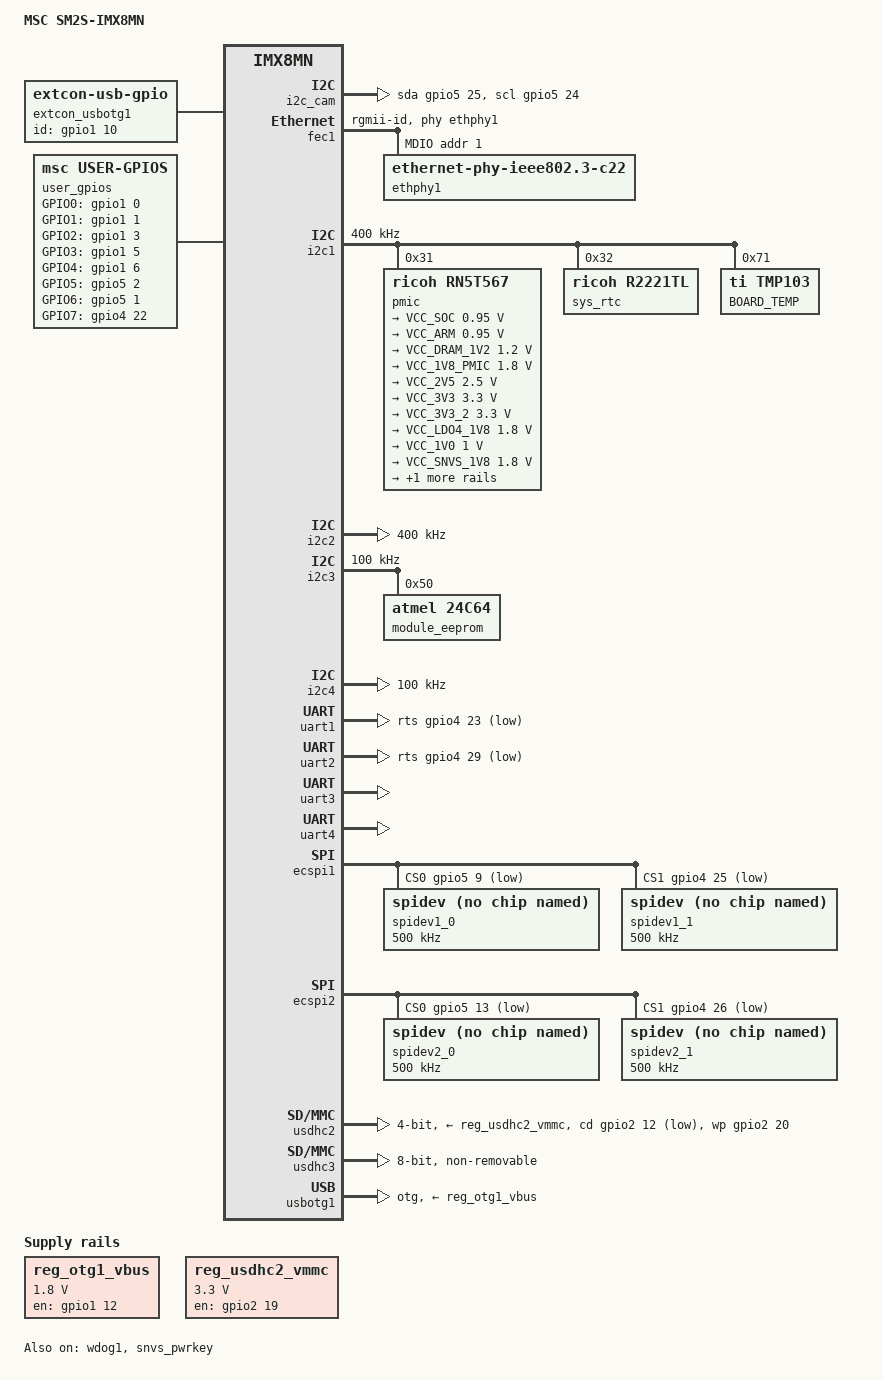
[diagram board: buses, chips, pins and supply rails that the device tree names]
/*
 * Copyright (C) 2022 Avnet Embedded GmbH
 *
 * This program is free software; you can redistribute it and/or
 * modify it under the terms of the GNU General Public License as
 * published by the Free Software Foundation version 2.
 *
 * This program is distributed "as is" WITHOUT ANY WARRANTY of any
 * kind, whether express or implied; without even the implied warranty
 * of MERCHANTABILITY or FITNESS FOR A PARTICULAR PURPOSE.  See the
 * GNU General Public License for more details.
 */

#include <dt-bindings/usb/pd.h>
#include "../../freescale/imx8mn.dtsi"
#include <dt-bindings/net/ti-dp83867.h>
#include <dt-bindings/mfd/ricoh-rn5t618.h>
#include <dt-bindings/input/snvs_pwrkey.h>
#include <dt-bindings/thermal/thermal.h>

/ {
	model = "MSC SM2S-IMX8MN";
	compatible = "msc,sm2s-imx8mn", "fsl,imx8mn";

	chosen {
		stdout-path = &uart1;
	};

	aliases {
		rtc0 = &sys_rtc;
		rtc1 = &snvs_rtc;
		ser0 = &uart1;
		ser1 = &uart3;
		ser2 = &uart2;
		ser3 = &uart4;
		i2c-dev = &i2c1;
		i2c-pm = &i2c2;
		i2c-gp = &i2c3;
		i2c-lcd = &i2c4;
		i2c-cam = &i2c_cam;
		// i2c5 = &i2c_cam;
	};

	busfreq {
		status = "disabled";
	};

	/* clkout1 monitor output */
	clkout1: clkout1 {
		compatible = "fixed-clock";
		#clock-cells = <0>;
		clock-frequency = <24000000>;
		clock-output-names = "clkout1";
	};

	/* clkout2 monitor output */
	clkout2: clkout2 {
		compatible = "fixed-clock";
		#clock-cells = <0>;
		clock-frequency = <24000000>;
		clock-output-names = "clkout2";
	};

	reg_otg1_vbus: otg1-vbus-regulator {
		compatible = "regulator-fixed";
		regulator-name = "OTG1_VBUS";
		regulator-min-microvolt = <1800000>;
		regulator-max-microvolt = <1800000>;
		gpio = <&gpio1 12 GPIO_ACTIVE_HIGH>;
		enable-active-high;
	};

	reg_usdhc2_vmmc: regulator-usdhc2 {
		compatible = "regulator-fixed";
		regulator-name = "VSD_3V3";
		regulator-min-microvolt = <3300000>;
		regulator-max-microvolt = <3300000>;
		gpio = <&gpio2 19 GPIO_ACTIVE_HIGH>;
		enable-active-high;
		startup-delay-us = <100>;
		u-boot,off-on-delay-us = <12000>;
	};

	i2c_cam: i2c_cam {
		pinctrl-names = "default";
		pinctrl-0 = <&pinctrl_i2c_cam>;
		compatible = "i2c-gpio";
		#address-cells = <1>;
		#size-cells = <0>;
		sda-gpios = <&gpio5 25 (GPIO_ACTIVE_HIGH | GPIO_OPEN_DRAIN)>;
		scl-gpios = <&gpio5 24 (GPIO_ACTIVE_HIGH | GPIO_OPEN_DRAIN)>;
		i2c-gpio,delay-us = <2>;	/* ~100 kHz */
		status = "okay";
	};

	lcd0_backlight: lcd0_backlight {
		pinctrl-names = "default";
		pinctrl-0 = <&pinctrl_lcd0_backlight>;
		compatible = "pwm-backlight";
		pwms = <&pwm1 0 1000000>;
		brightness-levels = <
			  0   1   2   3   4   5   6   7   8   9
			 10  11  12  13  14  15  16  17  18  19
			 20  21  22  23  24  25  26  27  28  29
			 30  31  32  33  34  35  36  37  38  39
			 40  41  42  43  44  45  46  47  48  49
			 50  51  52  53  54  55  56  57  58  59
			 60  61  62  63  64  65  66  67  68  69
			 70  71  72  73  74  75  76  77  78  79
			 80  81  82  83  84  85  86  87  88  89
			 90  91  92  93  94  95  96  97  98  99
			100 101 102 103 104 105 106 107 108 109
			110 111 112 113 114 115 116 117 118 119
			120 121 122 123 124 125 126 127 128 129
			130 131 132 133 134 135 136 137 138 139
			140 141 142 143 144 145 146 147 148 149
			150 151 152 153 154 155 156 157 158 159
			160 161 162 163 164 165 166 167 168 169
			170 171 172 173 174 175 176 177 178 179
			180 181 182 183 184 185 186 187 188 189
			190 191 192 193 194 195 196 197 198 199
			200 201 202 203 204 205 206 207 208 209
			210 211 212 213 214 215 216 217 218 219
			220 221 222 223 224 225 226 227 228 229
			230 231 232 233 234 235 236 237 238 239
			240 241 242 243 244 245 246 247 248 249
			250 251 252 253 254 255
		>;
		default-brightness-level = <255>;
		enable-gpios = <&gpio5 4 GPIO_ACTIVE_HIGH>;
		status = "disabled";
	};

	extcon_usbotg1: extcon_usbotg1 {
		pinctrl-names = "default";
		pinctrl-0 = <&pinctrl_usbotg1_extcon>;
		compatible = "linux,extcon-usb-gpio";
		id-gpio = <&gpio1 10 GPIO_ACTIVE_HIGH>;
	};

	user_gpios {
		compatible = "msc,user-gpios";
		GPIO0-gpios = <&gpio1 0 GPIO_ACTIVE_HIGH>;
		GPIO1-gpios = <&gpio1 1 GPIO_ACTIVE_HIGH>;
		GPIO2-gpios = <&gpio1 3 GPIO_ACTIVE_HIGH>;
		GPIO3-gpios = <&gpio1 5 GPIO_ACTIVE_HIGH>;
		GPIO4-gpios = <&gpio1 6 GPIO_ACTIVE_HIGH>;
		GPIO5-gpios = <&gpio5 2 GPIO_ACTIVE_HIGH>;
		GPIO6-gpios = <&gpio5 1 GPIO_ACTIVE_HIGH>;
		GPIO7-gpios = <&gpio4 22 GPIO_ACTIVE_HIGH>;
		GPIO8-gpios = <&gpio3 25 GPIO_ACTIVE_HIGH>;
		GPIO9-gpios = <&gpio4 28 GPIO_ACTIVE_HIGH>;
		GPIO10-gpios = <&gpio1 9 GPIO_ACTIVE_HIGH>;
		GPIO11-gpios = <&gpio1 7 GPIO_ACTIVE_HIGH>;
		GPIO12-gpios = <&gpio2 9 GPIO_ACTIVE_HIGH>;
		GPIO13-gpios = <&gpio2 8 GPIO_ACTIVE_HIGH>;
	};
};

&fec1 {
	pinctrl-names = "default";
	pinctrl-0 = <&pinctrl_fec1>;
	phy-mode = "rgmii-id";
	phy-handle = <&ethphy1>;
	fsl,magic-packet;
	status = "okay";

	mdio {
		#address-cells = <1>;
		#size-cells = <0>;

		ethphy1: ethernet-phy@1 {
			compatible = "ethernet-phy-ieee802.3-c22";
			reg = <1>;
			eee-broken-1000t;

			ti,rx-internal-delay = <DP83867_RGMIIDCTL_2_25_NS>;
			ti,tx-internal-delay = <DP83867_RGMIIDCTL_2_75_NS>;
			ti,fifo-depth = <DP83867_PHYCR_FIFO_DEPTH_4_B_NIB>;
			ti,led-2-sel = <MII_DP83867_LEDCR1_LED_SEL_LE_RX_TX_ACT>;
			ti,led-1-sel = <MII_DP83867_LEDCR1_LED_SEL_1000BT_LE>;
			ti,led-0-sel = <MII_DP83867_LEDCR1_LED_SEL_100BTX_LE>;
			ti,led-gpio-polarity-active-high;
			ti,led-2-polarity-active-high;
			ti,led-1-polarity-active-high;
			ti,led-0-polarity-active-high;
			ti,clk-output-sel = <DP83867_CLK_O_SEL_OFF>;
		};
	};
};

/* I2C_DEV */
&i2c1 {
	pinctrl-names = "default";
	pinctrl-0 = <&pinctrl_i2c1>;
	clock-frequency = <400000>;
	status = "okay";

	pmic: pmic@31 {
		compatible = "ricoh,rn5t567";
		reg = <0x31>;
		pmic-id = <0>;
		system-power-controller;
		system-restart-controller;
		sleep-sequence = /bits/ 8 <
				0x16	0x2b
				0x17	0x49
				0x1b	0x2b
				0x1c	0x67
				0x1f	0x0b
				0x32	0x03
				0x30	0x03
			>;
		repower-time = <REPWRTIME_1000MS>;

		regulators {
			DCDC1 {
				regulator-name = "VCC_SOC";
				regulator-always-on;
				regulator-min-microvolt = <950000>;
				regulator-max-microvolt = <950000>;
			};
			DCDC2 {
				regulator-name = "VCC_ARM";
				regulator-always-on;
				regulator-min-microvolt = <950000>;
				regulator-max-microvolt = <950000>;
			};
			DCDC3 {
				regulator-name = "VCC_DRAM_1V2";
				regulator-always-on;
				regulator-min-microvolt = <1200000>;
				regulator-max-microvolt = <1200000>;
			};
			DCDC4 {
				regulator-name = "VCC_1V8_PMIC";
				regulator-always-on;
				regulator-min-microvolt = <1800000>;
				regulator-max-microvolt = <1800000>;
			};
			LDO1 {
				regulator-name = "VCC_2V5";
				regulator-always-on;
				regulator-min-microvolt = <2500000>;
				regulator-max-microvolt = <2500000>;
			};
			LDO2 {
				regulator-name = "VCC_3V3";
				regulator-always-on;
				regulator-min-microvolt = <3300000>;
				regulator-max-microvolt = <3300000>;
			};
			LDO3 {
				regulator-name = "VCC_3V3_2";
				regulator-always-on;
				regulator-min-microvolt = <3300000>;
				regulator-max-microvolt = <3300000>;
			};
			LDO4 {
				regulator-name = "VCC_LDO4_1V8";
				regulator-always-on;
				regulator-min-microvolt = <1800000>;
				regulator-max-microvolt = <1800000>;
			};
			LDO5 {
				regulator-name = "VCC_1V0";
				regulator-always-on;
				regulator-min-microvolt = <1000000>;
				regulator-max-microvolt = <1000000>;
			};
			LDORTC1 {
				regulator-name = "VCC_SNVS_1V8";
				regulator-always-on;
				regulator-min-microvolt = <1800000>;
				regulator-max-microvolt = <1800000>;
			};
			LDORTC2 {
				regulator-name = "VCC_PM1_SNVS_3V3";
				regulator-always-on;
				regulator-min-microvolt = <3300000>;
				regulator-max-microvolt = <3300000>;
			};
		};
	};

	sys_rtc: rtc@32 {
		compatible = "ricoh,r2221tl";
		pinctrl-names = "default";
		pinctrl-0 = <&pinctrl_rtc1>;
		reg = <0x32>;
	};

	tmp103: tmp103@71 {
		compatible = "ti,tmp103";
		reg = <0x71>;
		label = "BOARD_TEMP";
	};

	dsi_lvds_bridge: sn65dsi84@2d {
		compatible = "ti,sn65dsi83";
		reg = <0x2d>;
		pinctrl-names = "default";
		pinctrl-0 = <&pinctrl_lcd0_panel>;
		enable-panel-gpios = <&gpio5 3 GPIO_ACTIVE_HIGH>;
		backlight = <&lcd0_backlight>;
		status = "disabled";
	};
};

/* I2C_PM */
&i2c2 {
	clock-frequency = <400000>;
	pinctrl-names = "default";
	pinctrl-0 = <&pinctrl_i2c2>;
	status = "okay";
};

/* I2C_GP */
&i2c3 {
	clock-frequency = <100000>;
	pinctrl-names = "default";
	pinctrl-0 = <&pinctrl_i2c3>;
	status = "okay";

	module_eeprom@50 {
		compatible = "atmel,24c64";
		reg = <0x50>;
	};
};

/* I2C_LCD */
&i2c4 {
	clock-frequency = <100000>;
	pinctrl-names = "default";
	pinctrl-0 = <&pinctrl_i2c4>;
	status = "okay";
};

&sdma1 {
	status = "okay";
};

&sdma2 {
	status = "okay";
};

/* ser 0 */
&uart1 {
	pinctrl-names = "default";
	pinctrl-0 = <&pinctrl_uart1>;
	fsl,uart-has-rtscts;
	rts-gpios = <&gpio4 23 GPIO_ACTIVE_LOW>;
	cts-gpios = <&gpio4 24 GPIO_ACTIVE_LOW>;
	status = "okay";
};

/* ser 2 */
&uart2 {
	pinctrl-names = "default";
	pinctrl-0 = <&pinctrl_uart2>;
	fsl,uart-has-rtscts;
	rts-gpios = <&gpio4 29 GPIO_ACTIVE_LOW>;
	cts-gpios = <&gpio4 30 GPIO_ACTIVE_LOW>;
	status = "okay";
};

/* ser 1 */
&uart3 {
	pinctrl-names = "default";
	pinctrl-0 = <&pinctrl_uart3>;
	assigned-clocks = <&clk IMX8MN_CLK_UART3>;
	assigned-clock-parents = <&clk IMX8MN_SYS_PLL1_80M>;
	status = "okay";
};

/* ser 3 */
&uart4 {
	pinctrl-names = "default";
	pinctrl-0 = <&pinctrl_uart4>;
	status = "okay";
};

&ecspi1 {
	#address-cells = <1>;
	#size-cells = <0>;
	pinctrl-names = "default";
	pinctrl-0 = <&pinctrl_ecspi1>, <&pinctrl_ecspi1_cs>;
	fsl,spi-num-chipselects = <2>;
	cs-gpios = <&gpio5 9 GPIO_ACTIVE_LOW>,
			   <&gpio4 25 GPIO_ACTIVE_LOW>;
	status = "okay";

	spidev1_0: spi@0 {
		compatible = "rohm,dh2228fv";
		reg = <0>;
		spi-max-frequency = <500000>;
	};

	spidev1_1: spi@1 {
		compatible = "rohm,dh2228fv";
		reg = <1>;
		spi-max-frequency = <500000>;
	};
};

&ecspi2 {
	#address-cells = <1>;
	#size-cells = <0>;
	pinctrl-names = "default";
	pinctrl-0 = <&pinctrl_ecspi2 &pinctrl_ecspi2_cs>;
	fsl,spi-num-chipselects = <2>;
	cs-gpios = <&gpio5 13 GPIO_ACTIVE_LOW>,
			   <&gpio4 26 GPIO_ACTIVE_LOW>;
	status = "okay";

	spidev2_0: spi@0 {
		compatible = "rohm,dh2228fv";
		reg = <0>;
		spi-max-frequency = <500000>;
	};

	spidev2_1: spi@1 {
		compatible = "rohm,dh2228fv";
		reg = <1>;
		spi-max-frequency = <500000>;
	};
};

/* SD Card */
&usdhc2 {
	assigned-clocks = <&clk IMX8MN_CLK_USDHC2>;
	assigned-clock-rates = <200000000>;
	pinctrl-names = "default", "state_100mhz", "state_200mhz";
	pinctrl-0 = <&pinctrl_usdhc2>, <&pinctrl_usdhc2_gpio>;
	pinctrl-1 = <&pinctrl_usdhc2_100mhz>, <&pinctrl_usdhc2_gpio>;
	pinctrl-2 = <&pinctrl_usdhc2_200mhz>, <&pinctrl_usdhc2_gpio>;
	cd-gpios = <&gpio2 12 GPIO_ACTIVE_LOW>;
	wp-gpios = <&gpio2 20 GPIO_ACTIVE_HIGH>;
	vmmc-supply = <&reg_usdhc2_vmmc>;
	bus-width = <4>;
	status = "okay";
};

/* eMMC */
&usdhc3 {
	assigned-clocks = <&clk IMX8MN_CLK_USDHC3_ROOT>;
	assigned-clock-rates = <400000000>;
	pinctrl-names = "default", "state_100mhz", "state_200mhz";
	pinctrl-0 = <&pinctrl_usdhc3>, <&pinctrl_usdhc3_reset>;
	pinctrl-1 = <&pinctrl_usdhc3_100mhz>, <&pinctrl_usdhc3_reset>;
	pinctrl-2 = <&pinctrl_usdhc3_200mhz>, <&pinctrl_usdhc3_reset>;
	bus-width = <8>;
	non-removable;
	status = "okay";
};

&usbotg1 {
	pinctrl-names = "default";
	pinctrl-0 = <&pinctrl_usbotg1>;
	vbus-supply = <&reg_otg1_vbus>;
	dr_mode = "otg";
	extcon = <0>, <&extcon_usbotg1>;
	hnp-disable;
	srp-disable;
	adp-disable;
	disable-over-current;
	status = "okay";
};

&wdog1 {
	pinctrl-names = "default";
	pinctrl-0 = <&pinctrl_wdog1>;
	fsl,ext-reset-output;
	status = "okay";
};

///* qspi */
//&flexspi {
//	pinctrl-names = "default";
//	pinctrl-0 = <&pinctrl_flexspi>;
//	status = "okay";
//
//	qspi_flash: qspi_flash@0 {
//		reg = <0>;
//		#address-cells = <1>;
//		#size-cells = <1>;
//		compatible = "jedec,spi-nor";
//		spi-max-frequency = <80000000>;
//		spi-tx-bus-width = <4>;
//		spi-rx-bus-width = <4>;
//	};
//};

&pwm1 {
	pinctrl-names = "default";
	pinctrl-0 = <&pinctrl_pwm1>;
	status = "disabled";
};

&mipi_dsi {
	status = "disabled";
};

&sai5 {
	pinctrl-names = "default";
	pinctrl-0 = <&pinctrl_sai5>;
	assigned-clocks = <&clk IMX8MN_CLK_SAI5>;
	assigned-clock-parents = <&clk IMX8MN_AUDIO_PLL1_OUT>;
	assigned-clock-rates = <49152000>;
	clocks = <&clk IMX8MN_CLK_SAI5_IPG>, <&clk IMX8MN_CLK_DUMMY>,
		<&clk IMX8MN_CLK_SAI5_ROOT>, <&clk IMX8MN_CLK_DUMMY>,
		<&clk IMX8MN_CLK_DUMMY>, <&clk IMX8MN_AUDIO_PLL1_OUT>,
		<&clk IMX8MN_AUDIO_PLL2_OUT>;
	clock-names = "bus", "mclk0", "mclk1", "mclk2", "mclk3", "pll8k", "pll11k";
	status = "disabled";
};

&snvs_pwrkey {
	on-time = <SNVS_LPCR_ON_TIME_0ms>;
	status = "okay";
};

&anatop {
	clkout1,source = <IMX8MN_CLK_CLKOUT_OUTPUT_SEL_SYSOSC_24M>;
	clkout1,enable;
	clkout2,source = <IMX8MN_CLK_CLKOUT_OUTPUT_SEL_SYSOSC_24M>;
	clkout2,enable;

	/* video-pll1-ss,enable; */
	video-pll1-ss,ffin_MHz = <24>;
	video-pll1-ss,mf_kHz = <30>;
	video-pll1-ss,mr = <VIDEO_PLL1_SPREAD_DEPTH_0_5_PERCENT>;
};

&easrc {
	fsl,asrc-rate  = <48000>;
	status = "disabled";
};

&mipi_csi_1 {
	status = "disabled";
};

&isi_0 {
	status = "disabled";

	cap_device {
		status = "disabled";
	};
};

&cameradev {
	status = "disabled";
};

&iomuxc {
	pinctrl-names = "default";
	pinctrl-0 = <&pinctrl_smarc_gpio>, <&pinctrl_hog>;

	sm2s-imx8mn {

		pinctrl_hog: hoggrp {
			fsl,pins = <
				/* BATLOW */
				MX8MN_IOMUXC_SD1_DATA5_GPIO2_IO7			0x19
				/* CHARGING */
				MX8MN_IOMUXC_SD1_DATA3_GPIO2_IO5			0x19
				/* CHARGER_PRSNT# */
				MX8MN_IOMUXC_SD1_DATA4_GPIO2_IO6			0x19
				/* PERI_RST# */
				MX8MN_IOMUXC_SAI2_MCLK_GPIO4_IO27			0x19
				/* SLEEP */
				MX8MN_IOMUXC_SAI2_RXFS_GPIO4_IO21			0x40000019
				/* BOOT_SEL0# */
				MX8MN_IOMUXC_SD1_DATA0_GPIO2_IO2			0x40000019
				/* BOOT_SEL1# */
				MX8MN_IOMUXC_SD1_DATA1_GPIO2_IO3			0x40000019
				/*BOOT_SEL2# */
				MX8MN_IOMUXC_SD1_DATA2_GPIO2_IO4			0x40000019
			>;
		};

		pinctrl_smarc_gpio: smarcgrp-gpio {
			fsl,pins = <
				/* GPIO 0 */
				MX8MN_IOMUXC_GPIO1_IO00_GPIO1_IO0			0x40000019
				/* GPIO 1 */
				MX8MN_IOMUXC_GPIO1_IO01_GPIO1_IO1			0x40000019
				/* GPIO 2 */
				MX8MN_IOMUXC_GPIO1_IO03_GPIO1_IO3			0x40000019
				/* GPIO 3 no SION because of M4_NMI */
				MX8MN_IOMUXC_GPIO1_IO05_GPIO1_IO5			0x19
				/* GPIO 4 */
				MX8MN_IOMUXC_GPIO1_IO06_GPIO1_IO6			0x40000019
				/* GPIO 5 */
				MX8MN_IOMUXC_SAI3_MCLK_GPIO5_IO2			0x40000019
				/* GPIO 6 */
				MX8MN_IOMUXC_SAI3_TXD_GPIO5_IO1			0x40000019
				/* GPIO 7 */
				MX8MN_IOMUXC_SAI2_RXC_GPIO4_IO22			0x40000019
				/* GPIO 8 */
				MX8MN_IOMUXC_SAI5_MCLK_GPIO3_IO25			0x40000019
				/* GPIO 9 */
				MX8MN_IOMUXC_SAI3_RXFS_GPIO4_IO28			0x40000019
				/* GPIO 10 */
				MX8MN_IOMUXC_GPIO1_IO09_GPIO1_IO9			0x40000019
				/* GPIO 11 */
				MX8MN_IOMUXC_GPIO1_IO07_GPIO1_IO7			0x40000019
				/* GPIO 12 */
				MX8MN_IOMUXC_SD1_DATA7_GPIO2_IO9			0x40000019
				/* GPIO 13 */
				MX8MN_IOMUXC_SD1_DATA6_GPIO2_IO8			0x40000019
			>;
		};

		pinctrl_fec1: fec1grp {
			fsl,pins = <
				/* GBE_MDIO_CLK */
				MX8MN_IOMUXC_ENET_MDC_ENET1_MDC			0x3
				/* GBE_MDIO_DATA */
				MX8MN_IOMUXC_ENET_MDIO_ENET1_MDIO			0x3
				/* RGMII_TXEN */
				MX8MN_IOMUXC_ENET_TX_CTL_ENET1_RGMII_TX_CTL		0x1f
				/* RGMII_TCLK */
				MX8MN_IOMUXC_ENET_TXC_ENET1_RGMII_TXC			0x1f
				/* RGMII_TXD0 */
				MX8MN_IOMUXC_ENET_TD0_ENET1_RGMII_TD0			0x1f
				/* RGMII_TXD1 */
				MX8MN_IOMUXC_ENET_TD1_ENET1_RGMII_TD1			0x1f
				/* RGMII_TXD2 */
				MX8MN_IOMUXC_ENET_TD2_ENET1_RGMII_TD2			0x1f
				/* RGMII_TXD3 */
				MX8MN_IOMUXC_ENET_TD3_ENET1_RGMII_TD3			0x1f
				/* RGMII_RCNT */
				MX8MN_IOMUXC_ENET_RX_CTL_ENET1_RGMII_RX_CTL		0x91
				/* RGMII_RCLK */
				MX8MN_IOMUXC_ENET_RXC_ENET1_RGMII_RXC			0x91
				/* RGMII_RXD0 */
				MX8MN_IOMUXC_ENET_RD0_ENET1_RGMII_RD0			0x91
				/* RGMII_RXD1 */
				MX8MN_IOMUXC_ENET_RD1_ENET1_RGMII_RD1			0x91
				/* RGMII_RXD2 */
				MX8MN_IOMUXC_ENET_RD2_ENET1_RGMII_RD2			0x91
				/* RGMII_RXD3 */
				MX8MN_IOMUXC_ENET_RD3_ENET1_RGMII_RD3			0x91
				/* GBE_INT */
				MX8MN_IOMUXC_SAI5_RXC_GPIO3_IO20			0x40000019
				/* GBE0_GPIO_0 */
				MX8MN_IOMUXC_GPIO1_IO08_ENET1_1588_EVENT0_IN		0x19
			>;
		};

		/* ser 0 */
		pinctrl_uart1: uart1grp {
			fsl,pins = <
				/* SER0_RX */
				MX8MN_IOMUXC_UART1_RXD_UART1_DCE_RX		0x49
				/* SER0_TX */
				MX8MN_IOMUXC_UART1_TXD_UART1_DCE_TX		0x49
				/* SER0_RTS */
				MX8MN_IOMUXC_SAI2_RXD0_GPIO4_IO23		0x19
				/* SER0_CTS */
				MX8MN_IOMUXC_SAI2_TXFS_GPIO4_IO24		0x19
			>;
		};

		/* ser 2 */
		pinctrl_uart2: uart2grp {
			fsl,pins = <
				/* SER2_RX */
				MX8MN_IOMUXC_SAI3_TXFS_UART2_DCE_RX		0x49
				/* SER2_TX */
				MX8MN_IOMUXC_SAI3_TXC_UART2_DCE_TX		0x49
				/* SER2_RTS */
				MX8MN_IOMUXC_SAI3_RXC_GPIO4_IO29		0x19
				/* SER2_CTS */
				MX8MN_IOMUXC_SAI3_RXD_GPIO4_IO30		0x19
			>;
		};

		/* ser 1 */
		pinctrl_uart3: uart3grp {
			fsl,pins = <
				/* SER1_RX */
				MX8MN_IOMUXC_UART3_RXD_UART3_DCE_RX		0x49
				/* SER1_TX */
				MX8MN_IOMUXC_UART3_TXD_UART3_DCE_TX		0x49
			>;
		};

		/* ser 3 */
		pinctrl_uart4: uart4grp {
			fsl,pins = <
				/* SER3_RX */
				MX8MN_IOMUXC_UART4_RXD_UART4_DCE_RX		0x49
				/* SER3_TX */
				MX8MN_IOMUXC_UART4_TXD_UART4_DCE_TX		0x49
			>;
		};

		/* I2C_DEV */
		pinctrl_i2c1: i2c1grp {
			fsl,pins = <
				/* I2C_DEV_SCL */
				MX8MN_IOMUXC_I2C1_SCL_I2C1_SCL			0x400001c3
				/* I2C_DEV_SDA */
				MX8MN_IOMUXC_I2C1_SDA_I2C1_SDA			0x400001c3
			>;
		};

		/* I2C_PM */
		pinctrl_i2c2: i2c2grp {
			fsl,pins = <
				/* I2C_PM_SCL */
				MX8MN_IOMUXC_I2C2_SCL_I2C2_SCL			0x400001c3
				/* I2C_PM_SDA */
				MX8MN_IOMUXC_I2C2_SDA_I2C2_SDA			0x400001c3
			>;
		};

		/* I2C_GP */
		pinctrl_i2c3: i2c3grp {
			fsl,pins = <
				/* I2C_GP_SCL */
				MX8MN_IOMUXC_I2C3_SCL_I2C3_SCL			0x400001c3
				/* I2C_GP_SDA */
				MX8MN_IOMUXC_I2C3_SDA_I2C3_SDA			0x400001c3
			>;
		};

		/* I2C_LCD */
		pinctrl_i2c4: i2c4grp {
			fsl,pins = <
				/* I2C_LCD_SCL */
				MX8MN_IOMUXC_I2C4_SCL_I2C4_SCL			0x400001c3
				/* I2C_LCD_SDA */
				MX8MN_IOMUXC_I2C4_SDA_I2C4_SDA			0x400001c3
			>;
		};

		/* I2C_CAM */
		pinctrl_i2c_cam: i2ccamgrp {
			fsl,pins = <
				/* I2C_CAM_SCL, linux-gpio-id=152 */
				MX8MN_IOMUXC_UART2_RXD_GPIO5_IO24		0x40000116
				/* I2C_CAM_SDA, linux-gpio-id=153 */
				MX8MN_IOMUXC_UART2_TXD_GPIO5_IO25		0x40000116
			>;
		};

		pinctrl_usdhc2_gpio: usdhc2grp-gpio {
			fsl,pins = <
				/* SD2_RESET_B */
				MX8MN_IOMUXC_SD2_RESET_B_GPIO2_IO19			0x36
				/* SD2_CD_B, SDIO_CD, linux-gpio-id=44 */
				MX8MN_IOMUXC_SD2_CD_B_GPIO2_IO12			0x41
				/* SD2_WP, SDIO_WP, linux-gpio-id=52 */
				MX8MN_IOMUXC_SD2_WP_GPIO2_IO20				0x41
				/* SDIO_PWR_EN, linux-gpio-id=78 */
				MX8MN_IOMUXC_NAND_DQS_GPIO3_IO14			0x41
				/* USDHC2_VSELECT */
				MX8MN_IOMUXC_GPIO1_IO04_USDHC2_VSELECT			0x1d0
			>;
		};

		pinctrl_usdhc2: usdhc2grp {
			fsl,pins = <
				/* SD2_CLK, SDIO_CK */
				MX8MN_IOMUXC_SD2_CLK_USDHC2_CLK			0x92
				/* SD2_CMD, SDIO_CMD */
				MX8MN_IOMUXC_SD2_CMD_USDHC2_CMD			0x92
				/* SD2_DATA0, SDIO_DATA0 */
				MX8MN_IOMUXC_SD2_DATA0_USDHC2_DATA0			0x92
				/* SD2_DATA1, SDIO_DATA1 */
				MX8MN_IOMUXC_SD2_DATA1_USDHC2_DATA1			0x92
				/* SD2_DATA2, SDIO_DATA2 */
				MX8MN_IOMUXC_SD2_DATA2_USDHC2_DATA2			0x92
				/* SD2_DATA3, SDIO_DATA3 */
				MX8MN_IOMUXC_SD2_DATA3_USDHC2_DATA3			0x92
			>;
		};

		pinctrl_usdhc2_100mhz: usdhc2grp-100mhz {
			fsl,pins = <
				/* SD2_CLK, SDIO_CK */
				MX8MN_IOMUXC_SD2_CLK_USDHC2_CLK			0x94
				/* SD2_CMD, SDIO_CMD */
				MX8MN_IOMUXC_SD2_CMD_USDHC2_CMD			0x94
				/* SD2_DATA0, SDIO_DATA0 */
				MX8MN_IOMUXC_SD2_DATA0_USDHC2_DATA0			0x94
				/* SD2_DATA1, SDIO_DATA1 */
				MX8MN_IOMUXC_SD2_DATA1_USDHC2_DATA1			0x94
				/* SD2_DATA2, SDIO_DATA2 */
				MX8MN_IOMUXC_SD2_DATA2_USDHC2_DATA2			0x94
				/* SD2_DATA3, SDIO_DATA3 */
				MX8MN_IOMUXC_SD2_DATA3_USDHC2_DATA3			0x94
			>;
		};

		pinctrl_usdhc2_200mhz: usdhc2grp-200mhz {
			fsl,pins = <
				/* SD2_CLK, SDIO_CK */
				MX8MN_IOMUXC_SD2_CLK_USDHC2_CLK			0x96
				/* SD2_CMD, SDIO_CMD */
				MX8MN_IOMUXC_SD2_CMD_USDHC2_CMD			0x96
				/* SD2_DATA0, SDIO_DATA0 */
				MX8MN_IOMUXC_SD2_DATA0_USDHC2_DATA0			0x96
				/* SD2_DATA1, SDIO_DATA1 */
				MX8MN_IOMUXC_SD2_DATA1_USDHC2_DATA1			0x96
				/* SD2_DATA2, SDIO_DATA2 */
				MX8MN_IOMUXC_SD2_DATA2_USDHC2_DATA2			0x96
				/* SD2_DATA3, SDIO_DATA3 */
				MX8MN_IOMUXC_SD2_DATA3_USDHC2_DATA3			0x96
			>;
		};

		pinctrl_usdhc3_reset: usdhc3grp-reset {
			fsl,pins = <
				/* SD3_RESET_B, EMMC_RST */
				MX8MN_IOMUXC_NAND_READY_B_USDHC3_RESET_B		0x116
			>;
		};

		/* emmc */
		pinctrl_usdhc3: usdhc3grp {
			fsl,pins = <
				/* SDHC3_CK */
				MX8MN_IOMUXC_NAND_WE_B_USDHC3_CLK			0x40000190
				/* SDHC3_CMD */
				MX8MN_IOMUXC_NAND_WP_B_USDHC3_CMD			0x1d0
				/* SDHC3_DATA0 */
				MX8MN_IOMUXC_NAND_DATA04_USDHC3_DATA0			0x1d0
				/* SDHC3_DATA1 */
				MX8MN_IOMUXC_NAND_DATA05_USDHC3_DATA1			0x1d0
				/* SDHC3_DATA2 */
				MX8MN_IOMUXC_NAND_DATA06_USDHC3_DATA2			0x1d0
				/* SDHC3_DATA3 */
				MX8MN_IOMUXC_NAND_DATA07_USDHC3_DATA3			0x1d0
				/* SDHC3_DATA4 */
				MX8MN_IOMUXC_NAND_RE_B_USDHC3_DATA4			0x1d0
				/* SDHC3_DATA5 */
				MX8MN_IOMUXC_NAND_CE2_B_USDHC3_DATA5			0x1d0
				/* SDHC3_DATA6 */
				MX8MN_IOMUXC_NAND_CE3_B_USDHC3_DATA6			0x1d0
				/* SDHC3_DATA7 */
				MX8MN_IOMUXC_NAND_CLE_USDHC3_DATA7			0x1d0
				/* SDHC3_STRB */
				MX8MN_IOMUXC_NAND_CE1_B_USDHC3_STROBE			0x190

			>;
		};

		pinctrl_usdhc3_100mhz: usdhc3grp-100mhz {
			fsl,pins = <
				/* SDHC3_CK */
				MX8MN_IOMUXC_NAND_WE_B_USDHC3_CLK			0x40000194
				/* SDHC3_CMD */
				MX8MN_IOMUXC_NAND_WP_B_USDHC3_CMD			0x1d4
				/* SDHC3_DATA0 */
				MX8MN_IOMUXC_NAND_DATA04_USDHC3_DATA0			0x1d4
				/* SDHC3_DATA1 */
				MX8MN_IOMUXC_NAND_DATA05_USDHC3_DATA1			0x1d4
				/* SDHC3_DATA2 */
				MX8MN_IOMUXC_NAND_DATA06_USDHC3_DATA2			0x1d4
				/* SDHC3_DATA3 */
				MX8MN_IOMUXC_NAND_DATA07_USDHC3_DATA3			0x1d4
				/* SDHC3_DATA4 */
				MX8MN_IOMUXC_NAND_RE_B_USDHC3_DATA4			0x1d4
				/* SDHC3_DATA5 */
				MX8MN_IOMUXC_NAND_CE2_B_USDHC3_DATA5			0x1d4
				/* SDHC3_DATA6 */
				MX8MN_IOMUXC_NAND_CE3_B_USDHC3_DATA6			0x1d4
				/* SDHC3_DATA7 */
				MX8MN_IOMUXC_NAND_CLE_USDHC3_DATA7			0x1d4
				/* SDHC3_STRB */
				MX8MN_IOMUXC_NAND_CE1_B_USDHC3_STROBE			0x194

			>;
		};

		pinctrl_usdhc3_200mhz: usdhc3grp-200mhz {
			fsl,pins = <
				/* SDHC3_CK */
				MX8MN_IOMUXC_NAND_WE_B_USDHC3_CLK			0x40000196
				/* SDHC3_CMD */
				MX8MN_IOMUXC_NAND_WP_B_USDHC3_CMD			0x1d6
				/* SDHC3_DATA0 */
				MX8MN_IOMUXC_NAND_DATA04_USDHC3_DATA0			0x1d6
				/* SDHC3_DATA1 */
				MX8MN_IOMUXC_NAND_DATA05_USDHC3_DATA1			0x1d6
				/* SDHC3_DATA2 */
				MX8MN_IOMUXC_NAND_DATA06_USDHC3_DATA2			0x1d6
				/* SDHC3_DATA3 */
				MX8MN_IOMUXC_NAND_DATA07_USDHC3_DATA3			0x1d6
				/* SDHC3_DATA4 */
				MX8MN_IOMUXC_NAND_RE_B_USDHC3_DATA4			0x1d6
				/* SDHC3_DATA5 */
				MX8MN_IOMUXC_NAND_CE2_B_USDHC3_DATA5			0x1d6
				/* SDHC3_DATA6 */
				MX8MN_IOMUXC_NAND_CE3_B_USDHC3_DATA6			0x1d6
				/* SDHC3_DATA7 */
				MX8MN_IOMUXC_NAND_CLE_USDHC3_DATA7			0x1d6
				/* SDHC3_STRB */
				MX8MN_IOMUXC_NAND_CE1_B_USDHC3_STROBE			0x196

			>;
		};

		pinctrl_flexspi: flexspi0grp {
			fsl,pins = <
				/* QSPI_CK */
				MX8MN_IOMUXC_NAND_ALE_QSPI_A_SCLK			0x1c6
				/* QSPI_CS0# */
				MX8MN_IOMUXC_NAND_CE0_B_QSPI_A_SS0_B			0x86
				/* QSPI_DATA0 */
				MX8MN_IOMUXC_NAND_DATA00_QSPI_A_DATA0			0x86
				/* QSPI_DATA1 */
				MX8MN_IOMUXC_NAND_DATA01_QSPI_A_DATA1			0x86
				/* QSPI_DATA2 */
				MX8MN_IOMUXC_NAND_DATA02_QSPI_A_DATA2			0x86
				/* QSPI_DATA3 */
				MX8MN_IOMUXC_NAND_DATA03_QSPI_A_DATA3			0x86
			>;
		};

		pinctrl_ecspi1: ecspi1grp {
			fsl,pins = <
				/* SPI0_CK */
				MX8MN_IOMUXC_ECSPI1_SCLK_ECSPI1_SCLK			0x82
				/* SPI0_MOSI */
				MX8MN_IOMUXC_ECSPI1_MOSI_ECSPI1_MOSI			0x82
				/* SPI0_MISO */
				MX8MN_IOMUXC_ECSPI1_MISO_ECSPI1_MISO			0x82
			>;
		};

		pinctrl_ecspi1_cs: ecspi1grp-cs {
			fsl,pins = <
				/* SPI0_CS0, linux-gpio-id=137 */
				MX8MN_IOMUXC_ECSPI1_SS0_GPIO5_IO9			0x19
				/* SPI0_CS1, linux-gpio-id=121 */
				MX8MN_IOMUXC_SAI2_TXC_GPIO4_IO25			0x19
			>;
		};

		pinctrl_ecspi2: ecspi2grp {
			fsl,pins = <
				/* SPI1_CK */
				MX8MN_IOMUXC_ECSPI2_SCLK_ECSPI2_SCLK			0x82
				/* SPI1_MOSI */
				MX8MN_IOMUXC_ECSPI2_MOSI_ECSPI2_MOSI			0x82
				/* SPI1_MISO */
				MX8MN_IOMUXC_ECSPI2_MISO_ECSPI2_MISO			0x82
			>;
		};

		pinctrl_ecspi2_cs: ecspi2grp-cs {
			fsl,pins = <
				/* SPI1_CS0, linux-gpio-id=141 */
				MX8MN_IOMUXC_ECSPI2_SS0_GPIO5_IO13			0x19
				/* SPI1_CS1, linux-gpio-id=122 */
				MX8MN_IOMUXC_SAI2_TXD0_GPIO4_IO26			0x19
			>;
		};

		pinctrl_sai5: sai5grp {
			fsl,pins = <
				/* I2S0_LRCK */
				MX8MN_IOMUXC_SAI5_RXD1_SAI5_TX_SYNC			0xd6
				/* I2S0_SDIN */
				MX8MN_IOMUXC_SAI5_RXD0_SAI5_RX_DATA0			0xd6
				/* I2S0_CK */
				MX8MN_IOMUXC_SAI5_RXD2_SAI5_TX_BCLK			0xd6
				/* I2S0_SDOUT */
				MX8MN_IOMUXC_SAI5_RXD3_SAI5_TX_DATA0			0xd6
			>;
		};

		pinctrl_rtc1: rtc1grp {
			fsl,pins = <
				/* RTC_INT#, linux-gpio-id=83 */
				MX8MN_IOMUXC_SAI5_RXFS_GPIO3_IO19			0x19
			>;
		};

		pinctrl_wdog1: wdog1grp {
			fsl,pins = <
				/* WDOG1, WDT_TIME_OUT */
				MX8MN_IOMUXC_GPIO1_IO02_WDOG1_WDOG_B			0xc6
			>;
		};

		pinctrl_pwm1: pwm1grp {
			fsl,pins = <
				/* LCD0_BKLT_PWM */
				MX8MN_IOMUXC_SPDIF_EXT_CLK_PWM1_OUT			0x19
			>;
		};

		pinctrl_lcd0_backlight: lcd0grp-backlight {
			fsl,pins = <
				/* LCD0_BKLT_EN, linux-gpio-id=132 */
				MX8MN_IOMUXC_SPDIF_RX_GPIO5_IO4			0x19
			>;
		};

		pinctrl_lcd0_panel: lcd0grp-panel {
			fsl,pins = <
				/* LCD0_VDD_EN, linux-gpio-id=131 */
				 MX8MN_IOMUXC_SPDIF_TX_GPIO5_IO3			0x19
			>;
		};

		pinctrl_usbotg1: usbotg1grp {
			fsl,pins = <
				/* USB0_OTG_EN */
				MX8MN_IOMUXC_GPIO1_IO12_GPIO1_IO12			0x16
				/* USB0_OTG_OC */
				MX8MN_IOMUXC_GPIO1_IO13_USB1_OTG_OC			0x40000019
			>;
		};

		pinctrl_usbotg1_extcon: usbotg1extcongrp {
			fsl,pins = <
				MX8MN_IOMUXC_GPIO1_IO10_GPIO1_IO10			0x40000019
			>;
		};

		pinctrl_tpm: tpmgrp {
			fsl,pins = <
				/* GPIO2_IO0, linux-gpio-id=32, TPM_PP */
				MX8MN_IOMUXC_SD1_CLK_GPIO2_IO0				0x116
				/* GPIO2_IO1, linux-gpio-id=33, TPM_INT */
				MX8MN_IOMUXC_SD1_CMD_GPIO2_IO1				0x156
			>;
		};
	};
};
